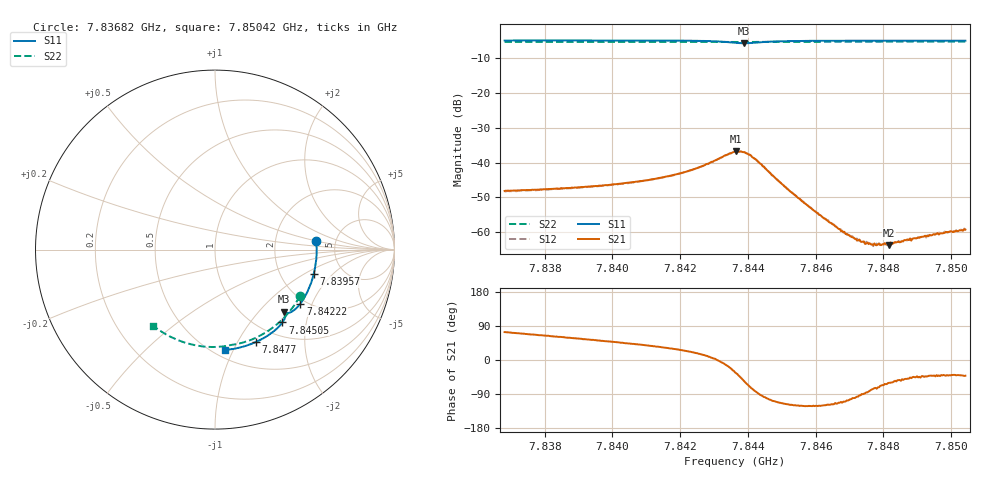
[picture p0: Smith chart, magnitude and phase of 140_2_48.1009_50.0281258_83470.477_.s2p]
#  HZ  S  RI  R  50.00
! Rohde & Schwarz Vector Network Analyzer
! Rohde-Schwarz,ZNB20-2Port,1311601062101988,3.16
! Created: UTC 12/23/2023, 3:48:40 AM
! freq[Hz]  re:S11  im:S11  re:S21  im:S21  re:S12  im:S12  re:S22  im:S22
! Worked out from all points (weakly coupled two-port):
!   401 points, 7.83682 GHz to 7.85042 GHz, reference 50 ohm
!   highest |S21| = -36.78 dB at 7.84365 GHz (marker M1); lowest = -63.7 dB at 7.84817 GHz (marker M2)
!   lowest |S11| = -5.7 dB at 7.84389 GHz (marker M3), VSWR 3.14, Z = 73.7 - j69.4 ohm
!   |S11| at or under -10 dB: nowhere
!   |S22| runs from -5.4 to -5.3 dB; largest |S21 - S12| = 0.00033
!   S11 on the Smith chart (normalised r, x): 7.83682 GHz: 3.53, +0.50; 7.83957 GHz: 3.08, -1.22; 7.84222 GHz: 1.87, -1.65; 7.84505 GHz: 1.25, -1.46; 7.8477 GHz: 0.80, -1.20; 7.85042 GHz: 0.57, -0.93
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7.836817e9  0.564 0.0476  0.0011 0.00376  0.00114 0.00369  0.4731 -0.259
7.839096e9  0.5573 -0.1034  0.0025 0.00369  0.00249 0.00362  0.3776 -0.3863
7.839572e9  0.5506 -0.1347  0.00286 0.00362  0.00287 0.00359  0.3533 -0.4092
7.840694e9  0.5272 -0.2073  0.00399 0.00353  0.00387 0.00352  0.2903 -0.4563
7.841374e9  0.5076 -0.2496  0.00496 0.00342  0.00488 0.0034  0.2491 -0.4803
7.842224e9  0.4753 -0.3011  0.00692 0.00293  0.00689 0.00296  0.1946 -0.5049
7.842666e9  0.4534 -0.3264  0.00872 0.00213  0.00865 0.0022  0.1652 -0.5152
7.843108e9  0.4253 -0.3473  0.0112 -0.000149  0.0112 -0.000186  0.1351 -0.5234
7.843618e9  0.3899 -0.3517  0.012 -0.00767  0.012 -0.00745  0.101 -0.5295
7.843652e9  0.3885 -0.3509  0.0119 -0.00832  0.0118 -0.008  0.0989 -0.53
7.84389e9  0.3853 -0.345  0.00794 -0.0117  0.00782 -0.0116  0.084 -0.5323
7.844026e9  0.3879 -0.3453  0.00484 -0.0121  0.005 -0.0122  0.0752 -0.5342
7.84423e9  0.3924 -0.3528  0.0013 -0.0111  0.00133 -0.011  0.0619 -0.5368
7.845046e9  0.3756 -0.4059  -0.00199 -0.00431  -0.002 -0.00428  0.00476 -0.5424
7.845896e9  0.3334 -0.4501  -0.00112 -0.00182  -0.00112 -0.00185  -0.0552 -0.5407
7.846882e9  0.2777 -0.489  -0.000315 -0.000889  -0.000292 -0.00093  -0.1235 -0.53
7.847154e9  0.2616 -0.4981  -0.000142 -0.000791  -0.000132 -0.000791  -0.142 -0.5255
7.847392e9  0.2473 -0.5055  -3.56e-06 -0.000736  -1.85e-05 -0.000713  -0.1582 -0.5211
7.847698e9  0.2287 -0.5143  0.000157 -0.000636  0.000147 -0.000615  -0.1787 -0.5146
7.848174e9  0.1991 -0.5265  0.000322 -0.000564  0.000343 -0.000596  -0.21 -0.5029
7.849534e9  0.112 -0.5514  0.000681 -0.00064  0.000686 -0.000627  -0.2947 -0.4595
7.850418e9  0.0537 -0.5597  0.000818 -0.000722  0.000829 -0.000718  -0.3451 -0.4234
